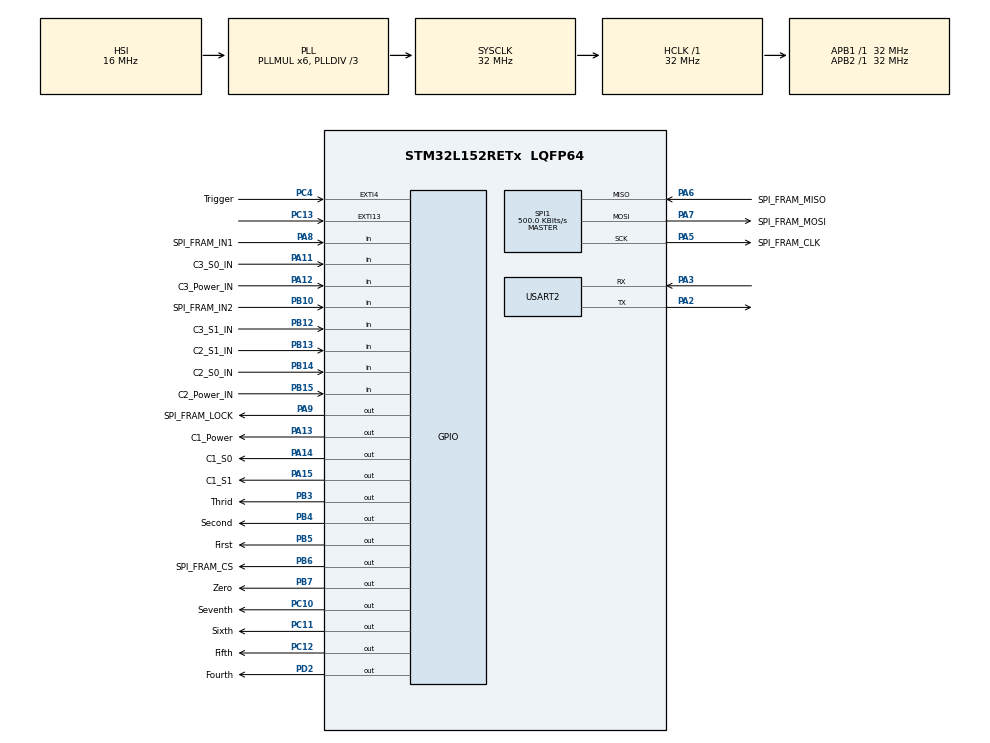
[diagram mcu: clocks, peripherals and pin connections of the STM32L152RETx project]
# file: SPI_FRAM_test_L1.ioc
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Mcu.Family=STM32L1
Mcu.Name=STM32L152RETx
Mcu.Package=LQFP64
NVIC.EXTI15_10_IRQn=true\:0\:0\:false\:false\:true\:true\:true
NVIC.EXTI4_IRQn=true\:0\:0\:false\:false\:true\:true\:true
NVIC.PriorityGroup=NVIC_PRIORITYGROUP_0
PA11.GPIO_Label=C3_S0_IN
PA11.Signal=GPIO_Input
PA12.GPIO_Label=C3_Power_IN
PA12.Signal=GPIO_Input
PA13.GPIO_Label=C1_Power
PA13.Signal=GPIO_Output
PA14.GPIO_Label=C1_S0
PA14.Signal=GPIO_Output
PA15.GPIO_Label=C1_S1
PA15.Signal=GPIO_Output
PA2.Mode=Asynchronous
PA2.Signal=USART2_TX
PA3.Mode=Asynchronous
PA3.Signal=USART2_RX
PA5.GPIO_Label=SPI_FRAM_CLK
PA5.Mode=Full_Duplex_Master
PA5.Signal=SPI1_SCK
PA6.GPIO_Label=SPI_FRAM_MISO
PA6.Mode=Full_Duplex_Master
PA6.Signal=SPI1_MISO
PA7.GPIO_Label=SPI_FRAM_MOSI
PA7.Mode=Full_Duplex_Master
PA7.Signal=SPI1_MOSI
PA8.GPIO_Label=SPI_FRAM_IN1
PA8.Signal=GPIO_Input
PA9.GPIO_Label=SPI_FRAM_LOCK
PA9.Signal=GPIO_Output
PB10.GPIO_Label=SPI_FRAM_IN2
PB10.Signal=GPIO_Input
PB12.GPIO_Label=C3_S1_IN
PB12.Signal=GPIO_Input
PB13.GPIO_Label=C2_S1_IN
PB13.Signal=GPIO_Input
PB14.GPIO_Label=C2_S0_IN
PB14.Signal=GPIO_Input
PB15.GPIO_Label=C2_Power_IN
PB15.Signal=GPIO_Input
PB3.GPIO_Label=Thrid
PB3.PinState=GPIO_PIN_SET
PB3.Signal=GPIO_Output
PB4.GPIO_Label=Second
PB4.PinState=GPIO_PIN_SET
PB4.Signal=GPIO_Output
PB5.GPIO_Label=First
PB5.PinState=GPIO_PIN_SET
PB5.Signal=GPIO_Output
PB6.GPIO_Label=SPI_FRAM_CS
PB6.Signal=GPIO_Output
PB7.GPIO_Label=Zero
PB7.PinState=GPIO_PIN_SET
PB7.Signal=GPIO_Output
PC10.GPIO_Label=Seventh
PC10.PinState=GPIO_PIN_SET
PC10.Signal=GPIO_Output
PC11.GPIO_Label=Sixth
PC11.PinState=GPIO_PIN_SET
PC11.Signal=GPIO_Output
PC12.GPIO_Label=Fifth
PC12.PinState=GPIO_PIN_SET
PC12.Signal=GPIO_Output
PC13-WKUP2.Signal=GPXTI13
PC4.GPIO_Label=Trigger
PC4.Signal=GPXTI4
PD2.GPIO_Label=Fourth
PD2.PinState=GPIO_PIN_SET
PD2.Signal=GPIO_Output
ProjectManager.HeapSize=0x200
ProjectManager.StackSize=0x400
ProjectManager.TargetToolchain=MDK-ARM V5
RCC.48MHZClocksFreq_Value=48000000
RCC.AHBFreq_Value=32000000
RCC.APB1Freq_Value=32000000
RCC.APB1TimFreq_Value=32000000
RCC.APB2Freq_Value=32000000
RCC.APB2TimFreq_Value=32000000
RCC.HCLKFreq_Value=32000000
RCC.HSE_VALUE=8000000
RCC.HSI_VALUE=16000000
RCC.LSE_VALUE=32768
RCC.MSI_VALUE=2097000
RCC.PLLDIV=RCC_PLL_DIV3
RCC.PLLMUL=RCC_PLL_MUL6
RCC.RTCClockSelectionVirtual=RCC_RTCCLKSOURCE_LSE
RCC.SYSCLKFreq_VALUE=32000000
RCC.SYSCLKSource=RCC_SYSCLKSOURCE_PLLCLK
RCC.USBOutput=48000000
RCC.VCOOutputFreq_Value=96000000
SPI1.BaudRatePrescaler=SPI_BAUDRATEPRESCALER_64
SPI1.CalculateBaudRate=500.0 KBits/s
SPI1.Direction=SPI_DIRECTION_2LINES
SPI1.Mode=SPI_MODE_MASTER
SPI1.VirtualType=VM_MASTER
USART2.VirtualMode=VM_ASYNC
board=NUCLEO-L152RE

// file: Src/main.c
/* USER CODE BEGIN Header */
/**
  ******************************************************************************
  * @file           : main.c
  * @brief          : Main program body
  ******************************************************************************
  * @attention
  *
  * <h2><center>&copy; Copyright (c) 2019 STMicroelectronics.
  * All rights reserved.</center></h2>
  *
  * This software component is licensed by ST under BSD 3-Clause license,
  * the "License"; You may not use this file except in compliance with the
  * License. You may obtain a copy of the License at:
  *                        opensource.org/licenses/BSD-3-Clause
  *
  ******************************************************************************
  */
/* USER CODE END Header */

#include "main.h"

/* USER CODE BEGIN Includes */
#include <stdio.h>
#include "SPI_FRAM.h"
#include "DateConversion.h"
#include "edac.h"
/* USER CODE END Includes */

/* USER CODE BEGIN PTD */
typedef enum{
	P_Core = 0x1, S_Core = 0x2, Reboot = 0x3, Sleep = 0x4, Killed = 0x5
}States;
/* USER CODE END PTD */

/* USER CODE BEGIN PD */
#define READ 1
#define WRITE 0
/* USER CODE END PD */

SPI_HandleTypeDef hspi1;

UART_HandleTypeDef huart2;

/* USER CODE BEGIN PV */
int trigger = 0;
/* USER CODE END PV */

void SystemClock_Config(void);
static void MX_GPIO_Init(void);
static void MX_SPI1_Init(void);
static void MX_USART2_UART_Init(void);

/* USER CODE BEGIN 0 */
void display_LED(States *state);
void Test_FRAM(int rw);
void SLEEP(void);
void SendToComp(uint8_t input);
void setPin(GPIO_TypeDef* GPIOx, uint16_t GPIO_Pin, int shift_amt, uint8_t input);
/* USER CODE END 0 */

int main(void)
{
  /* USER CODE BEGIN 1 */
char Msg1[100] = {0};
  /* USER CODE END 1 */

  /* MCU Configuration--------------------------------------------------------*/

  /* Reset of all peripherals, Initializes the Flash interface and the Systick. */
  HAL_Init();

  /* USER CODE BEGIN Init */

	//States state = S_Core;

	States state = P_Core;

	//States state = Sleep;
  /* USER CODE END Init */

  /* Configure the system clock */
  SystemClock_Config();

  /* Initialize all configured peripherals */
  MX_GPIO_Init();
  MX_SPI1_Init();
  MX_USART2_UART_Init();

  /* Infinite loop */
  /* USER CODE BEGIN WHILE */
	SPI_FRAM_Init(&hspi1);

	uint8_t rd_flag = 0;
	uint8_t wr_flag = 0;

  while (1)
  {
    /* USER CODE END WHILE */

    /* USER CODE BEGIN 3 */
		switch(state){
			case P_Core:
				SendToComp(state);
				snprintf((char *)Msg1, sizeof(Msg1), "\r\nP_Core\r\n");
				HAL_UART_Transmit(&huart2, (uint8_t *) Msg1, sizeof(Msg1), 1);
				//====
				wr_flag = 0;
				//====

				if (trigger == 1) { state = S_Core; }

				//====
				if (rd_flag == 0) {
					//Test_FRAM(READ);
					rd_flag = 1;
				}
				//====

				break;
			case S_Core:
				SendToComp(state);
				snprintf((char *)Msg1, sizeof(Msg1), "\r\nS_Core\r\n");
				HAL_UART_Transmit(&huart2, (uint8_t *) Msg1, sizeof(Msg1), 1);
			  //====
				rd_flag = 0;
			  //====

				if (trigger == 1) { state = Reboot; }

				//====
				if (wr_flag == 0) {
					//Test_FRAM(WRITE);
					wr_flag = 1;
				}
				break;
			case Reboot:
				SendToComp(state);
				//FLASH LEDS for REBOOT
				snprintf((char *)Msg1, sizeof(Msg1), "\r\nReboot\r\n");
				HAL_UART_Transmit(&huart2, (uint8_t *) Msg1, sizeof(Msg1), 1);
				if (trigger == 1) { state = Sleep; }
				break;
			case Sleep:
				SendToComp(state);
				snprintf((char *)Msg1, sizeof(Msg1), "\r\nSleep soon\r\n");
				HAL_UART_Transmit(&huart2, (uint8_t *) Msg1, sizeof(Msg1), 1);
				SLEEP();
				if (trigger == 1) { state = P_Core; }
				break;
			case Killed:
				state = Killed;
				HAL_GPIO_WritePin(GPIOC, C1_Power_Pin, GPIO_PIN_RESET);
				break;
		}
		//RESET TRIGGER
		trigger = 0;
		//display_LED(&state);

  }
  /* USER CODE END 3 */
}

void SystemClock_Config(void)
{
  RCC_OscInitTypeDef RCC_OscInitStruct = {0};
  RCC_ClkInitTypeDef RCC_ClkInitStruct = {0};

  /** Configure the main internal regulator output voltage
  */
  __HAL_PWR_VOLTAGESCALING_CONFIG(PWR_REGULATOR_VOLTAGE_SCALE1);
  /** Initializes the CPU, AHB and APB busses clocks
  */
  RCC_OscInitStruct.OscillatorType = RCC_OSCILLATORTYPE_HSI;
  RCC_OscInitStruct.HSIState = RCC_HSI_ON;
  RCC_OscInitStruct.HSICalibrationValue = RCC_HSICALIBRATION_DEFAULT;
  RCC_OscInitStruct.PLL.PLLState = RCC_PLL_ON;
  RCC_OscInitStruct.PLL.PLLSource = RCC_PLLSOURCE_HSI;
  RCC_OscInitStruct.PLL.PLLMUL = RCC_PLL_MUL6;
  RCC_OscInitStruct.PLL.PLLDIV = RCC_PLL_DIV3;
  if (HAL_RCC_OscConfig(&RCC_OscInitStruct) != HAL_OK)
  {
    Error_Handler();
  }
  /** Initializes the CPU, AHB and APB busses clocks
  */
  RCC_ClkInitStruct.ClockType = RCC_CLOCKTYPE_HCLK|RCC_CLOCKTYPE_SYSCLK
                              |RCC_CLOCKTYPE_PCLK1|RCC_CLOCKTYPE_PCLK2;
  RCC_ClkInitStruct.SYSCLKSource = RCC_SYSCLKSOURCE_PLLCLK;
  RCC_ClkInitStruct.AHBCLKDivider = RCC_SYSCLK_DIV1;
  RCC_ClkInitStruct.APB1CLKDivider = RCC_HCLK_DIV1;
  RCC_ClkInitStruct.APB2CLKDivider = RCC_HCLK_DIV1;

  if (HAL_RCC_ClockConfig(&RCC_ClkInitStruct, FLASH_LATENCY_1) != HAL_OK)
  {
    Error_Handler();
  }
}

static void MX_SPI1_Init(void)
{

  /* SPI1 parameter configuration*/
  hspi1.Instance = SPI1;
  hspi1.Init.Mode = SPI_MODE_MASTER;
  hspi1.Init.Direction = SPI_DIRECTION_2LINES;
  hspi1.Init.DataSize = SPI_DATASIZE_8BIT;
  hspi1.Init.CLKPolarity = SPI_POLARITY_LOW;
  hspi1.Init.CLKPhase = SPI_PHASE_1EDGE;
  hspi1.Init.NSS = SPI_NSS_SOFT;
  hspi1.Init.BaudRatePrescaler = SPI_BAUDRATEPRESCALER_64;
  hspi1.Init.FirstBit = SPI_FIRSTBIT_MSB;
  hspi1.Init.TIMode = SPI_TIMODE_DISABLE;
  hspi1.Init.CRCCalculation = SPI_CRCCALCULATION_DISABLE;
  hspi1.Init.CRCPolynomial = 10;
  if (HAL_SPI_Init(&hspi1) != HAL_OK)
  {
    Error_Handler();
  }

}

static void MX_USART2_UART_Init(void)
{

  huart2.Instance = USART2;
  huart2.Init.BaudRate = 115200;
  huart2.Init.WordLength = UART_WORDLENGTH_8B;
  huart2.Init.StopBits = UART_STOPBITS_1;
  huart2.Init.Parity = UART_PARITY_NONE;
  huart2.Init.Mode = UART_MODE_TX_RX;
  huart2.Init.HwFlowCtl = UART_HWCONTROL_NONE;
  huart2.Init.OverSampling = UART_OVERSAMPLING_16;
  if (HAL_UART_Init(&huart2) != HAL_OK)
  {
    Error_Handler();
  }

}

static void MX_GPIO_Init(void)
{
  GPIO_InitTypeDef GPIO_InitStruct = {0};

  /* GPIO Ports Clock Enable */
  __HAL_RCC_GPIOC_CLK_ENABLE();
  __HAL_RCC_GPIOA_CLK_ENABLE();
  __HAL_RCC_GPIOB_CLK_ENABLE();
  __HAL_RCC_GPIOD_CLK_ENABLE();

  /*Configure GPIO pin Output Level */
  HAL_GPIO_WritePin(GPIOA, SPI_FRAM_LOCK_Pin|C1_Power_Pin|C1_S0_Pin|C1_S1_Pin, GPIO_PIN_RESET);

  /*Configure GPIO pin Output Level */
  HAL_GPIO_WritePin(GPIOC, Seventh_Pin|Sixth_Pin|Fifth_Pin, GPIO_PIN_SET);

  /*Configure GPIO pin Output Level */
  HAL_GPIO_WritePin(Fourth_GPIO_Port, Fourth_Pin, GPIO_PIN_SET);

  /*Configure GPIO pin Output Level */
  HAL_GPIO_WritePin(GPIOB, Thrid_Pin|Second_Pin|First_Pin|Zero_Pin, GPIO_PIN_SET);

  /*Configure GPIO pin Output Level */
  HAL_GPIO_WritePin(SPI_FRAM_CS_GPIO_Port, SPI_FRAM_CS_Pin, GPIO_PIN_RESET);

  /*Configure GPIO pins : PC13 Trigger_Pin */
  GPIO_InitStruct.Pin = GPIO_PIN_13|Trigger_Pin;
  GPIO_InitStruct.Mode = GPIO_MODE_IT_RISING;
  GPIO_InitStruct.Pull = GPIO_NOPULL;
  HAL_GPIO_Init(GPIOC, &GPIO_InitStruct);

  /*Configure GPIO pins : SPI_FRAM_IN2_Pin C3_S1_IN_Pin C2_S1_IN_Pin C2_S0_IN_Pin
                           C2_Power_IN_Pin */
  GPIO_InitStruct.Pin = SPI_FRAM_IN2_Pin|C3_S1_IN_Pin|C2_S1_IN_Pin|C2_S0_IN_Pin
                          |C2_Power_IN_Pin;
  GPIO_InitStruct.Mode = GPIO_MODE_INPUT;
  GPIO_InitStruct.Pull = GPIO_NOPULL;
  HAL_GPIO_Init(GPIOB, &GPIO_InitStruct);

  /*Configure GPIO pins : SPI_FRAM_IN1_Pin C3_S0_IN_Pin C3_Power_IN_Pin */
  GPIO_InitStruct.Pin = SPI_FRAM_IN1_Pin|C3_S0_IN_Pin|C3_Power_IN_Pin;
  GPIO_InitStruct.Mode = GPIO_MODE_INPUT;
  GPIO_InitStruct.Pull = GPIO_NOPULL;
  HAL_GPIO_Init(GPIOA, &GPIO_InitStruct);

  /*Configure GPIO pins : SPI_FRAM_LOCK_Pin C1_Power_Pin C1_S0_Pin C1_S1_Pin */
  GPIO_InitStruct.Pin = SPI_FRAM_LOCK_Pin|C1_Power_Pin|C1_S0_Pin|C1_S1_Pin;
  GPIO_InitStruct.Mode = GPIO_MODE_OUTPUT_PP;
  GPIO_InitStruct.Pull = GPIO_NOPULL;
  GPIO_InitStruct.Speed = GPIO_SPEED_FREQ_LOW;
  HAL_GPIO_Init(GPIOA, &GPIO_InitStruct);

  /*Configure GPIO pins : Seventh_Pin Sixth_Pin Fifth_Pin */
  GPIO_InitStruct.Pin = Seventh_Pin|Sixth_Pin|Fifth_Pin;
  GPIO_InitStruct.Mode = GPIO_MODE_OUTPUT_PP;
  GPIO_InitStruct.Pull = GPIO_NOPULL;
  GPIO_InitStruct.Speed = GPIO_SPEED_FREQ_LOW;
  HAL_GPIO_Init(GPIOC, &GPIO_InitStruct);

  /*Configure GPIO pin : Fourth_Pin */
  GPIO_InitStruct.Pin = Fourth_Pin;
  GPIO_InitStruct.Mode = GPIO_MODE_OUTPUT_PP;
  GPIO_InitStruct.Pull = GPIO_NOPULL;
  GPIO_InitStruct.Speed = GPIO_SPEED_FREQ_LOW;
  HAL_GPIO_Init(Fourth_GPIO_Port, &GPIO_InitStruct);

  /*Configure GPIO pins : Thrid_Pin Second_Pin First_Pin SPI_FRAM_CS_Pin
                           Zero_Pin */
  GPIO_InitStruct.Pin = Thrid_Pin|Second_Pin|First_Pin|SPI_FRAM_CS_Pin
                          |Zero_Pin;
  GPIO_InitStruct.Mode = GPIO_MODE_OUTPUT_PP;
  GPIO_InitStruct.Pull = GPIO_NOPULL;
  GPIO_InitStruct.Speed = GPIO_SPEED_FREQ_LOW;
  HAL_GPIO_Init(GPIOB, &GPIO_InitStruct);

  /* EXTI interrupt init*/
  HAL_NVIC_SetPriority(EXTI4_IRQn, 0, 0);
  HAL_NVIC_EnableIRQ(EXTI4_IRQn);

  HAL_NVIC_SetPriority(EXTI15_10_IRQn, 0, 0);
  HAL_NVIC_EnableIRQ(EXTI15_10_IRQn);

}

/* USER CODE BEGIN 4 */

void SendToComp (uint8_t input){
	int shifter = 7;
	setPin(Seventh_GPIO_Port, Seventh_Pin, shifter--, input);
	setPin(Sixth_GPIO_Port, Sixth_Pin, shifter--, input);
	setPin(Fifth_GPIO_Port, Fifth_Pin, shifter--, input);
	setPin(Fourth_GPIO_Port, Fourth_Pin, shifter--, input);
	setPin(Thrid_GPIO_Port, Thrid_Pin, shifter--, input);
	setPin(Second_GPIO_Port, Second_Pin, shifter--, input);
	setPin(First_GPIO_Port, First_Pin, shifter--, input);
	setPin(Zero_GPIO_Port, Zero_Pin, shifter, input);

}

void setPin(GPIO_TypeDef* GPIOx, uint16_t GPIO_Pin, int shift_amt, uint8_t input){
	if(input & (1 << shift_amt)){
		HAL_GPIO_WritePin(GPIOx, GPIO_Pin, GPIO_PIN_SET);
	}
	else{
		HAL_GPIO_WritePin(GPIOx, GPIO_Pin, GPIO_PIN_RESET);
	}

}

void SLEEP(void){
		HAL_SuspendTick();

		HAL_PWR_EnterSLEEPMode(PWR_MAINREGULATOR_ON, PWR_SLEEPENTRY_WFI);

		HAL_ResumeTick();

}

void HAL_GPIO_EXTI_Callback(uint16_t GPIO_Pin){
	trigger = 1;
}

void display_LED(States *state){
		switch(*state){
			case P_Core:
				HAL_GPIO_WritePin(GPIOA, C1_Power_Pin, GPIO_PIN_RESET);
				HAL_GPIO_WritePin(GPIOA, C1_S0_Pin, GPIO_PIN_RESET);
				HAL_GPIO_WritePin(GPIOA, C1_S1_Pin, GPIO_PIN_SET);
				break;
			case S_Core:
				HAL_GPIO_WritePin(GPIOA, C1_Power_Pin, GPIO_PIN_RESET);
				HAL_GPIO_WritePin(GPIOA, C1_S0_Pin, GPIO_PIN_SET);
				HAL_GPIO_WritePin(GPIOA, C1_S1_Pin, GPIO_PIN_RESET);
				break;
			case Reboot:
				HAL_GPIO_WritePin(GPIOA, C1_Power_Pin, GPIO_PIN_RESET);
				HAL_GPIO_WritePin(GPIOA, C1_S0_Pin, GPIO_PIN_SET);
				HAL_GPIO_WritePin(GPIOA, C1_S1_Pin, GPIO_PIN_SET);
				break;
			case Sleep:
				HAL_GPIO_WritePin(GPIOA, C1_Power_Pin, GPIO_PIN_SET);
				HAL_GPIO_WritePin(GPIOA, C1_S0_Pin, GPIO_PIN_RESET);
				HAL_GPIO_WritePin(GPIOA, C1_S1_Pin, GPIO_PIN_RESET);
				break;
			case Killed:
				HAL_GPIO_WritePin(GPIOA, C1_Power_Pin, GPIO_PIN_SET);
				HAL_GPIO_WritePin(GPIOA, C1_S0_Pin, GPIO_PIN_RESET);
				HAL_GPIO_WritePin(GPIOA, C1_S1_Pin, GPIO_PIN_SET);
				break;
		}
}

void Test_FRAM(int rw) {
	char msg[200] = {0};
	char msgClear[200] = {0};

	uint8_t pmState, numdataPoints, solarVector, ltStatus, mechState, numUsers, powerStatus;
	//uint8_t battLevel;
	double logTime, julianTime;
	float longitude, latitude, altitude;
	uint8_t i, j;
	uint16_t par_dec;

	if (rw) {
		uint8_t readVal[8] = {0};
		uint8_t valProcess[4] = {0};

		uint8_t readDouble[16] = {0};
		uint8_t doubleProcess[8] = {0};

		uint8_t battLevel[2] = {0};
		uint8_t battProcess;
		// Latitude
		SPI_FRAM_Read(&hspi1, SPI_FRAM_LATITUDE_ADDR, readVal, 8, &huart2, 5);
		for (i = 0, j = 0; i < 4; i++, j+=2) {
			par_dec = (readVal[j] << 4) | readVal[j+1];
			valProcess[i] = parity_decode(&par_dec);
		}
		latitude = bytes_to_float(valProcess);
		memcpy(msg, msgClear, 200);
		snprintf(msg, 200, "\nLatitude: %f\n", latitude);
		HAL_UART_Transmit(&huart2, (uint8_t *) msg, strlen(msg), 5);

		// Longitude
		SPI_FRAM_Read(&hspi1, SPI_FRAM_LONGITUDE_ADDR, readVal, 8, &huart2, 5);
		for (i = 0, j = 0; i < 4; i++, j+=2) {
			par_dec = (readVal[j] << 4) | readVal[j+1];
			valProcess[i] = parity_decode(&par_dec);
		}
		longitude = bytes_to_float(valProcess);
		memcpy(msg, msgClear, 200);
		snprintf(msg, 200, "\nLongitude: %f\n", longitude);
		HAL_UART_Transmit(&huart2, (uint8_t *) msg, strlen(msg), 5);

		// Altitude
		SPI_FRAM_Read(&hspi1, SPI_FRAM_ALTITUDE_ADDR, readVal, 8, &huart2, 5);
		for (i = 0, j = 0; i < 4; i++, j+=2) {
			par_dec = (readVal[j] << 4) | readVal[j+1];
			valProcess[i] = parity_decode(&par_dec);
		}
		altitude = bytes_to_float(valProcess);
		memcpy(msg, msgClear, 200);
		snprintf(msg, 200, "\nAltitude: %f\n", altitude);
		HAL_UART_Transmit(&huart2, (uint8_t *) msg, strlen(msg), 5);

		// Time
		SPI_FRAM_Read(&hspi1, SPI_FRAM_TIME_ADDR, readDouble, 16, &huart2, 5);
		for (i = 0, j = 0; i < 8; i++, j+=2) {
			par_dec = (readDouble[j] << 4) | readDouble[j+1];
			doubleProcess[i] = parity_decode(&par_dec);
		}
		julianTime = bytes_to_double(doubleProcess);
		memcpy(msg, msgClear, 200);
		snprintf(msg, 200, "\nTime: %lf\n", julianTime);
		HAL_UART_Transmit(&huart2, (uint8_t *) msg, strlen(msg), 5);

		// Battery
		SPI_FRAM_Read(&hspi1, SPI_FRAM_BATT_LEVEL_ADDR, battLevel, 2, &huart2, 5);
		for (i = 0, j = 0; i < 2; i++, j+=2) {
			par_dec = (battLevel[j] << 4) | battLevel[j+1];
			battProcess = parity_decode(&par_dec);
		}
		memcpy(msg, msgClear, 200);
		snprintf(msg, 200, "\nBattery Level: 0x%02x\n", battProcess);
		HAL_UART_Transmit(&huart2, (uint8_t *) msg, strlen(msg), 5);

		HAL_GPIO_WritePin(GPIOA, SPI_FRAM_LOCK_Pin, GPIO_PIN_SET);
	} else {
		uint8_t longU[4] = {0};
		uint8_t longD[8] = {0};

		longitude = 555.5;//234.3;

		float_to_bytes(longitude, longU);
		SPI_FRAM_Write(&hspi1, SPI_FRAM_LONGITUDE_ADDR, longU, 4, &huart2, 5);
		HAL_Delay(1);

		latitude = 444.4;//123.45;
		float_to_bytes(latitude, longU);
		SPI_FRAM_Write(&hspi1, SPI_FRAM_LATITUDE_ADDR, longU, 4, &huart2, 5);
		HAL_Delay(1);

		altitude = 333.3;//432.1;
		float_to_bytes(altitude, longU);
		SPI_FRAM_Write(&hspi1, SPI_FRAM_ALTITUDE_ADDR, longU, 4, &huart2, 5);
		HAL_Delay(1);

		julianTime = 2458616.719144;
		double_to_bytes(julianTime, longD);
		SPI_FRAM_Write(&hspi1, SPI_FRAM_TIME_ADDR, longD, 8, &huart2, 5);
		HAL_Delay(1);

		battLevel = 0x33;
		SPI_FRAM_Write(&hspi1, SPI_FRAM_BATT_LEVEL_ADDR, &battLevel, 1, &huart2, 5);
		HAL_Delay(1);

		HAL_GPIO_WritePin(GPIOA, SPI_FRAM_LOCK_Pin, GPIO_PIN_SET);
	}
}

/* USER CODE END 4 */

void Error_Handler(void)
{
}

/************************ (C) COPYRIGHT STMicroelectronics *****END OF FILE****/
